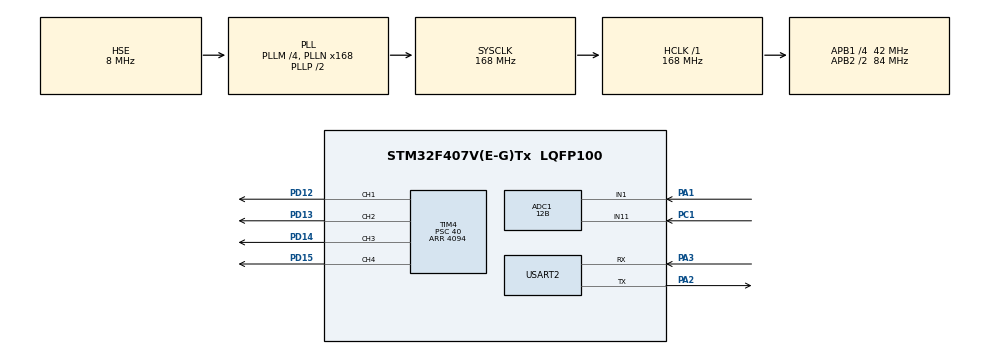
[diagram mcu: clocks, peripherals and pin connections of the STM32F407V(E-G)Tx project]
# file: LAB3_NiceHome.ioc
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ADC1.Channel-0\#ChannelRegularConversion=ADC_CHANNEL_11
ADC1.Channel-1\#ChannelRegularConversion=ADC_CHANNEL_1
ADC1.ClockPrescaler=ADC_CLOCK_SYNC_PCLK_DIV4
ADC1.ContinuousConvMode=DISABLE
ADC1.DMAContinuousRequests=DISABLE
ADC1.DataAlign=ADC_DATAALIGN_RIGHT
ADC1.DiscontinuousConvMode=DISABLE
ADC1.EOCSelection=ADC_EOC_SINGLE_CONV
ADC1.EnableAnalogWatchDog=false
ADC1.ExternalTrigConv=ADC_SOFTWARE_START
ADC1.ExternalTrigConvEdge=ADC_EXTERNALTRIGCONVEDGE_NONE
ADC1.InjNumberOfConversion=0
ADC1.NbrOfConversion=2
ADC1.NbrOfConversionFlag=1
ADC1.Rank-0\#ChannelRegularConversion=1
ADC1.Rank-1\#ChannelRegularConversion=2
ADC1.Resolution=ADC_RESOLUTION_12B
ADC1.SamplingTime-0\#ChannelRegularConversion=ADC_SAMPLETIME_3CYCLES
ADC1.SamplingTime-1\#ChannelRegularConversion=ADC_SAMPLETIME_3CYCLES
ADC1.ScanConvMode=ENABLE
ADC1.master=1
Mcu.Family=STM32F4
Mcu.Name=STM32F407V(E-G)Tx
Mcu.Package=LQFP100
NVIC.PriorityGroup=NVIC_PRIORITYGROUP_4
NVIC.TIM4_IRQn=true\:0\:0\:false\:false\:true\:true
PA1.Signal=ADCx_IN1
PA2.Mode=Asynchronous
PA2.Signal=USART2_TX
PA3.Mode=Asynchronous
PA3.Signal=USART2_RX
PC1.Signal=ADCx_IN11
PD12.Signal=S_TIM4_CH1
PD13.Signal=S_TIM4_CH2
PD14.Signal=S_TIM4_CH3
PD15.Signal=S_TIM4_CH4
PH0-OSC_IN.Mode=HSE-External-Oscillator
PH0-OSC_IN.Signal=RCC_OSC_IN
PH1-OSC_OUT.Mode=HSE-External-Oscillator
PH1-OSC_OUT.Signal=RCC_OSC_OUT
ProjectManager.HeapSize=0x200
ProjectManager.StackSize=0x400
ProjectManager.TargetToolchain=SW4STM32
RCC.48MHZClocksFreq_Value=84000000
RCC.AHBFreq_Value=168000000
RCC.APB1CLKDivider=RCC_HCLK_DIV4
RCC.APB1Freq_Value=42000000
RCC.APB1TimFreq_Value=84000000
RCC.APB2CLKDivider=RCC_HCLK_DIV2
RCC.APB2Freq_Value=84000000
RCC.APB2TimFreq_Value=168000000
RCC.CortexFreq_Value=168000000
RCC.HCLKFreq_Value=168000000
RCC.HSE_VALUE=8000000
RCC.HSI_VALUE=16000000
RCC.PLLM=4
RCC.PLLN=168
RCC.PLLSourceVirtual=RCC_PLLSOURCE_HSE
RCC.SYSCLKFreq_VALUE=168000000
RCC.SYSCLKSource=RCC_SYSCLKSOURCE_PLLCLK
RCC.VCOOutputFreq_Value=336000000
SH.ADCx_IN1.0=ADC1_IN1,IN1
SH.ADCx_IN11.0=ADC1_IN11,IN11
SH.S_TIM4_CH1.0=TIM4_CH1,PWM Generation1 CH1
SH.S_TIM4_CH2.0=TIM4_CH2,PWM Generation2 CH2
SH.S_TIM4_CH3.0=TIM4_CH3,PWM Generation3 CH3
SH.S_TIM4_CH4.0=TIM4_CH4,PWM Generation4 CH4
TIM4.Channel-PWM\ Generation1\ CH1=TIM_CHANNEL_1
TIM4.Channel-PWM\ Generation2\ CH2=TIM_CHANNEL_2
TIM4.Channel-PWM\ Generation3\ CH3=TIM_CHANNEL_3
TIM4.Channel-PWM\ Generation4\ CH4=TIM_CHANNEL_4
TIM4.Period=4094
TIM4.Prescaler=40
TIM4.Pulse-PWM\ Generation1\ CH1=500
TIM4.Pulse-PWM\ Generation2\ CH2=1000
TIM4.Pulse-PWM\ Generation3\ CH3=2000
TIM4.Pulse-PWM\ Generation4\ CH4=3000
USART2.VirtualMode=VM_ASYNC
VP_TIM4_VS_ClockSourceINT.Mode=Internal
board=custom

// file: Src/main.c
/**
  ******************************************************************************
  * @file           : main.c
  * @brief          : Main program body
  ******************************************************************************
  ** This notice applies to any and all portions of this file
  * that are not between comment pairs USER CODE BEGIN and
  * USER CODE END. Other portions of this file, whether
  * inserted by the user or by software development tools
  * are owned by their respective copyright owners.
  *
  * COPYRIGHT(c) 2018 STMicroelectronics
  *
  * Redistribution and use in source and binary forms, with or without modification,
  * are permitted provided that the following conditions are met:
  *   1. Redistributions of source code must retain the above copyright notice,
  *      this list of conditions and the following disclaimer.
  *   2. Redistributions in binary form must reproduce the above copyright notice,
  *      this list of conditions and the following disclaimer in the documentation
  *      and/or other materials provided with the distribution.
  *   3. Neither the name of STMicroelectronics nor the names of its contributors
  *      may be used to endorse or promote products derived from this software
  *      without specific prior written permission.
  *
  * THIS SOFTWARE IS PROVIDED BY THE COPYRIGHT HOLDERS AND CONTRIBUTORS "AS IS"
  * AND ANY EXPRESS OR IMPLIED WARRANTIES, INCLUDING, BUT NOT LIMITED TO, THE
  * IMPLIED WARRANTIES OF MERCHANTABILITY AND FITNESS FOR A PARTICULAR PURPOSE ARE
  * DISCLAIMED. IN NO EVENT SHALL THE COPYRIGHT HOLDER OR CONTRIBUTORS BE LIABLE
  * FOR ANY DIRECT, INDIRECT, INCIDENTAL, SPECIAL, EXEMPLARY, OR CONSEQUENTIAL
  * DAMAGES (INCLUDING, BUT NOT LIMITED TO, PROCUREMENT OF SUBSTITUTE GOODS OR
  * SERVICES; LOSS OF USE, DATA, OR PROFITS; OR BUSINESS INTERRUPTION) HOWEVER
  * CAUSED AND ON ANY THEORY OF LIABILITY, WHETHER IN CONTRACT, STRICT LIABILITY,
  * OR TORT (INCLUDING NEGLIGENCE OR OTHERWISE) ARISING IN ANY WAY OUT OF THE USE
  * OF THIS SOFTWARE, EVEN IF ADVISED OF THE POSSIBILITY OF SUCH DAMAGE.
  *
  ******************************************************************************
  */
#include "main.h"
#include "stm32f4xx_hal.h"
#include "stdio.h"

ADC_HandleTypeDef hadc1;

TIM_HandleTypeDef htim4;

UART_HandleTypeDef huart2;

/* USER CODE BEGIN PV */
/* Private variables ---------------------------------------------------------*/

/* USER CODE END PV */

void SystemClock_Config(void);
static void MX_GPIO_Init(void);
static void MX_ADC1_Init(void);
static void MX_TIM4_Init(void);
static void MX_USART2_UART_Init(void);

void HAL_TIM_MspPostInit(TIM_HandleTypeDef *htim);

/* USER CODE BEGIN PFP */
/* Private function prototypes -----------------------------------------------*/

/* USER CODE END PFP */

int main(void)
{

  /* MCU Configuration----------------------------------------------------------*/

  /* Reset of all peripherals, Initializes the Flash interface and the Systick. */
  HAL_Init();

  /* Configure the system clock */
  SystemClock_Config();

  /* Initialize all configured peripherals */
  MX_GPIO_Init();
  MX_ADC1_Init();
  MX_TIM4_Init();
  MX_USART2_UART_Init();
  /* USER CODE BEGIN 2 */

  HAL_TIM_PWM_Start(&htim4, TIM_CHANNEL_1);
  HAL_TIM_PWM_Start(&htim4, TIM_CHANNEL_2);
  HAL_TIM_PWM_Start(&htim4, TIM_CHANNEL_3);
  HAL_TIM_PWM_Start(&htim4, TIM_CHANNEL_4);
  TIM4->PSC = 200;
  /* USER CODE END 2 */

  /* Infinite loop */
  /* USER CODE BEGIN WHILE */
  char message[25];

  while (1)
  {
	  // X
	  HAL_ADC_Start(&hadc1);

	  HAL_ADC_PollForConversion(&hadc1, 10);

	  uint16_t value = HAL_ADC_GetValue(&hadc1);

	  TIM4->CCR3 = value;

	  sprintf(message, "\fJoy2 X: %d\r\n",value);

	  HAL_UART_Transmit(&huart2, (uint8_t*)message, strlen(message), 10);

	  HAL_ADC_PollForConversion(&hadc1, 10);

	  value = HAL_ADC_GetValue(&hadc1);

	  TIM4->CCR4 = value;

	  sprintf(message, "Joy2 Y: %d",value);

	  HAL_UART_Transmit(&huart2, (uint8_t*)message, strlen(message), 10);

	  HAL_ADC_Stop(&hadc1);

	  uint8_t rmessage = 0;
	  HAL_StatusTypeDef status = HAL_UART_Receive(&huart2, &rmessage, 1, 10);
	  if(status == HAL_OK)
	  {
		  switch (rmessage) {
			case 1:TIM4->CCR1 = 4000;
				break;
			case 2:TIM4->CCR1 = 0;
				break;
			case 3:TIM4->CCR2 = 4000;
				break;
			case 4:TIM4->CCR2 = 0;
				break;
		  }
	  }

	  HAL_Delay(10);
  /* USER CODE END WHILE */

  }

}

void SystemClock_Config(void)
{

  RCC_OscInitTypeDef RCC_OscInitStruct;
  RCC_ClkInitTypeDef RCC_ClkInitStruct;

    /**Configure the main internal regulator output voltage
    */
  __HAL_RCC_PWR_CLK_ENABLE();

  __HAL_PWR_VOLTAGESCALING_CONFIG(PWR_REGULATOR_VOLTAGE_SCALE1);

    /**Initializes the CPU, AHB and APB busses clocks
    */
  RCC_OscInitStruct.OscillatorType = RCC_OSCILLATORTYPE_HSE;
  RCC_OscInitStruct.HSEState = RCC_HSE_ON;
  RCC_OscInitStruct.PLL.PLLState = RCC_PLL_ON;
  RCC_OscInitStruct.PLL.PLLSource = RCC_PLLSOURCE_HSE;
  RCC_OscInitStruct.PLL.PLLM = 4;
  RCC_OscInitStruct.PLL.PLLN = 168;
  RCC_OscInitStruct.PLL.PLLP = RCC_PLLP_DIV2;
  RCC_OscInitStruct.PLL.PLLQ = 4;
  if (HAL_RCC_OscConfig(&RCC_OscInitStruct) != HAL_OK)
  {
    _Error_Handler(__FILE__, __LINE__);
  }

    /**Initializes the CPU, AHB and APB busses clocks
    */
  RCC_ClkInitStruct.ClockType = RCC_CLOCKTYPE_HCLK|RCC_CLOCKTYPE_SYSCLK
                              |RCC_CLOCKTYPE_PCLK1|RCC_CLOCKTYPE_PCLK2;
  RCC_ClkInitStruct.SYSCLKSource = RCC_SYSCLKSOURCE_PLLCLK;
  RCC_ClkInitStruct.AHBCLKDivider = RCC_SYSCLK_DIV1;
  RCC_ClkInitStruct.APB1CLKDivider = RCC_HCLK_DIV4;
  RCC_ClkInitStruct.APB2CLKDivider = RCC_HCLK_DIV2;

  if (HAL_RCC_ClockConfig(&RCC_ClkInitStruct, FLASH_LATENCY_5) != HAL_OK)
  {
    _Error_Handler(__FILE__, __LINE__);
  }

    /**Configure the Systick interrupt time
    */
  HAL_SYSTICK_Config(HAL_RCC_GetHCLKFreq()/1000);

    /**Configure the Systick
    */
  HAL_SYSTICK_CLKSourceConfig(SYSTICK_CLKSOURCE_HCLK);

  /* SysTick_IRQn interrupt configuration */
  HAL_NVIC_SetPriority(SysTick_IRQn, 0, 0);
}

/* ADC1 init function */
static void MX_ADC1_Init(void)
{

  ADC_ChannelConfTypeDef sConfig;

    /**Configure the global features of the ADC (Clock, Resolution, Data Alignment and number of conversion)
    */
  hadc1.Instance = ADC1;
  hadc1.Init.ClockPrescaler = ADC_CLOCK_SYNC_PCLK_DIV4;
  hadc1.Init.Resolution = ADC_RESOLUTION_12B;
  hadc1.Init.ScanConvMode = ENABLE;
  hadc1.Init.ContinuousConvMode = DISABLE;
  hadc1.Init.DiscontinuousConvMode = DISABLE;
  hadc1.Init.ExternalTrigConvEdge = ADC_EXTERNALTRIGCONVEDGE_NONE;
  hadc1.Init.ExternalTrigConv = ADC_SOFTWARE_START;
  hadc1.Init.DataAlign = ADC_DATAALIGN_RIGHT;
  hadc1.Init.NbrOfConversion = 2;
  hadc1.Init.DMAContinuousRequests = DISABLE;
  hadc1.Init.EOCSelection = ADC_EOC_SINGLE_CONV;
  if (HAL_ADC_Init(&hadc1) != HAL_OK)
  {
    _Error_Handler(__FILE__, __LINE__);
  }

    /**Configure for the selected ADC regular channel its corresponding rank in the sequencer and its sample time.
    */
  sConfig.Channel = ADC_CHANNEL_11;
  sConfig.Rank = 1;
  sConfig.SamplingTime = ADC_SAMPLETIME_3CYCLES;
  if (HAL_ADC_ConfigChannel(&hadc1, &sConfig) != HAL_OK)
  {
    _Error_Handler(__FILE__, __LINE__);
  }

    /**Configure for the selected ADC regular channel its corresponding rank in the sequencer and its sample time.
    */
  sConfig.Channel = ADC_CHANNEL_1;
  sConfig.Rank = 2;
  if (HAL_ADC_ConfigChannel(&hadc1, &sConfig) != HAL_OK)
  {
    _Error_Handler(__FILE__, __LINE__);
  }

}

/* TIM4 init function */
static void MX_TIM4_Init(void)
{

  TIM_ClockConfigTypeDef sClockSourceConfig;
  TIM_MasterConfigTypeDef sMasterConfig;
  TIM_OC_InitTypeDef sConfigOC;

  htim4.Instance = TIM4;
  htim4.Init.Prescaler = 40;
  htim4.Init.CounterMode = TIM_COUNTERMODE_UP;
  htim4.Init.Period = 4094;
  htim4.Init.ClockDivision = TIM_CLOCKDIVISION_DIV1;
  if (HAL_TIM_Base_Init(&htim4) != HAL_OK)
  {
    _Error_Handler(__FILE__, __LINE__);
  }

  sClockSourceConfig.ClockSource = TIM_CLOCKSOURCE_INTERNAL;
  if (HAL_TIM_ConfigClockSource(&htim4, &sClockSourceConfig) != HAL_OK)
  {
    _Error_Handler(__FILE__, __LINE__);
  }

  if (HAL_TIM_PWM_Init(&htim4) != HAL_OK)
  {
    _Error_Handler(__FILE__, __LINE__);
  }

  sMasterConfig.MasterOutputTrigger = TIM_TRGO_RESET;
  sMasterConfig.MasterSlaveMode = TIM_MASTERSLAVEMODE_DISABLE;
  if (HAL_TIMEx_MasterConfigSynchronization(&htim4, &sMasterConfig) != HAL_OK)
  {
    _Error_Handler(__FILE__, __LINE__);
  }

  sConfigOC.OCMode = TIM_OCMODE_PWM1;
  sConfigOC.Pulse = 500;
  sConfigOC.OCPolarity = TIM_OCPOLARITY_HIGH;
  sConfigOC.OCFastMode = TIM_OCFAST_DISABLE;
  if (HAL_TIM_PWM_ConfigChannel(&htim4, &sConfigOC, TIM_CHANNEL_1) != HAL_OK)
  {
    _Error_Handler(__FILE__, __LINE__);
  }

  sConfigOC.Pulse = 1000;
  if (HAL_TIM_PWM_ConfigChannel(&htim4, &sConfigOC, TIM_CHANNEL_2) != HAL_OK)
  {
    _Error_Handler(__FILE__, __LINE__);
  }

  sConfigOC.Pulse = 2000;
  if (HAL_TIM_PWM_ConfigChannel(&htim4, &sConfigOC, TIM_CHANNEL_3) != HAL_OK)
  {
    _Error_Handler(__FILE__, __LINE__);
  }

  sConfigOC.Pulse = 3000;
  if (HAL_TIM_PWM_ConfigChannel(&htim4, &sConfigOC, TIM_CHANNEL_4) != HAL_OK)
  {
    _Error_Handler(__FILE__, __LINE__);
  }

  HAL_TIM_MspPostInit(&htim4);

}

/* USART2 init function */
static void MX_USART2_UART_Init(void)
{

  huart2.Instance = USART2;
  huart2.Init.BaudRate = 115200;
  huart2.Init.WordLength = UART_WORDLENGTH_8B;
  huart2.Init.StopBits = UART_STOPBITS_1;
  huart2.Init.Parity = UART_PARITY_NONE;
  huart2.Init.Mode = UART_MODE_TX_RX;
  huart2.Init.HwFlowCtl = UART_HWCONTROL_NONE;
  huart2.Init.OverSampling = UART_OVERSAMPLING_16;
  if (HAL_UART_Init(&huart2) != HAL_OK)
  {
    _Error_Handler(__FILE__, __LINE__);
  }

}

/** Configure pins as
        * Analog
        * Input
        * Output
        * EVENT_OUT
        * EXTI
*/
static void MX_GPIO_Init(void)
{

  /* GPIO Ports Clock Enable */
  __HAL_RCC_GPIOH_CLK_ENABLE();
  __HAL_RCC_GPIOC_CLK_ENABLE();
  __HAL_RCC_GPIOA_CLK_ENABLE();
  __HAL_RCC_GPIOD_CLK_ENABLE();

}

void _Error_Handler(char *file, int line)
{
  while(1)
  {
  }
}

/************************ (C) COPYRIGHT STMicroelectronics *****END OF FILE****/
